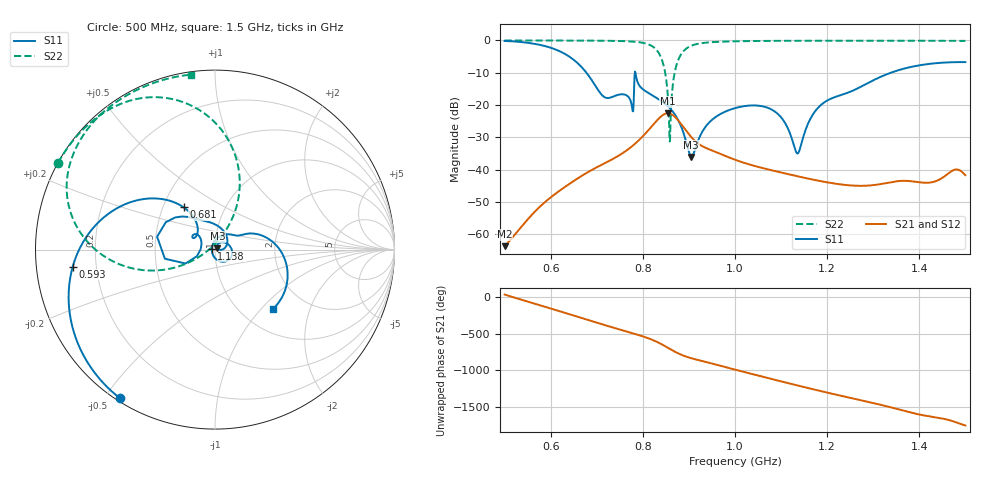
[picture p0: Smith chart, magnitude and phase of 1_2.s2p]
! TOUCHSTONE file generated by CST MICROWAVE STUDIO
! Date and time: Fri Oct  2 16:33:18 2020
! Project name: Scenario_1_Free_Space_out_of_line.cst
! Parameters = {Lambda=346.42; Step_1=17.321; dy1=346; dx1=346; L_HA=400; MT=2.54; Rad_Dielectric=30; Rad_Lower=7.3; Rad_Upper=30; a_HA=580; a_WG=246; b_HA=500; b_WG=121; c_HA=0; c_WG=187; d_feed=85; h_feed=15; h_lower=18; h_upper=40}
! Header version: 2018
! Port assignment regex: !\s*Touchstone port\s*([0-9]+)\s*=\s*(CST MWS port|CST DS port)\s*([0-9]+|Zmin|Zmax)\s*\(\"(.*)\"\)(\s*mode\s*([0-9]+))?.*
! Touchstone port assignment:
! Touchstone port 1 = CST MWS port 1 ("")
! Touchstone port 2 = CST MWS port 2 ("")
# GHz S DB R 50
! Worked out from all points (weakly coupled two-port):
!   1003 points, 500 MHz to 1.5 GHz, reference 50 ohm
!   highest |S21| = -22.55 dB at 854 MHz (marker M1); lowest = -63.7 dB at 500 MHz (marker M2)
!   lowest |S11| = -36.1 dB at 905 MHz (marker M3), VSWR 1.03, Z = 51.4 + j0.777 ohm
!   |S11| at or under -10 dB: 677.6 MHz to 782.7 MHz (105.1 MHz wide, 14.4 % of centre); 783.9 MHz to 1.338 GHz (554.3 MHz wide, 52.2 % of centre)
!   |S22| runs from -31.3 to 0.0 dB; largest |S21 - S12| = 1.5e-05
!   S11 on the Smith chart (normalised r, x): 500 MHz: 0.01, -0.55; 593 MHz: 0.11, -0.06; 681 MHz: 0.64, +0.33; 1.138 GHz: 0.97, +0.01; 1.5 GHz: 1.38, -1.16
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0.5  -0.15 -122.6  -63.69 29.8  -63.69 29.8  -0.01 151.1
0.593  -1.96 -173.2  -49.39 -145.8  -49.39 -145.8  -0.02 144.6
0.667  -8.23 134.4  -41.95 71.1  -41.95 71.1  -0.04 138.3
0.681  -10.64 126.6  -40.76 43.9  -40.76 43.9  -0.05 136.9
0.719  -17.71 140.2  -37.89 -28.0  -37.89 -28.0  -0.10 132.3
0.775  -19.48 141.2  -32.94 -128.6  -32.94 -128.6  -0.33 121.7
0.78  -19.37 -159.8  -32.35 -137.8  -32.35 -137.8  -0.38 120.2
0.787  -12.19 131.8  -31.47 -151.2  -31.47 -151.2  -0.47 117.9
0.834  -18.18 74.5  -24.27 97.6  -24.27 97.6  -3.76 85.5
0.847  -19.50 57.0  -22.80 54.4  -22.80 54.4  -8.96 67.5
0.854  -20.35 46.7  -22.55 29.1  -22.55 29.1  -16.73 60.3
0.861  -21.36 36.0  -22.78 3.8  -22.78 3.8  -21.60 -156.9
0.867  -22.41 26.6  -23.34 -17.1  -23.34 -17.1  -11.67 -156.5
0.872  -23.47 18.8  -24.00 -33.5  -24.00 -33.5  -8.14 -162.7
0.905  -36.07 28.7  -29.89 -113.7  -29.89 -113.7  -1.65 166.0
0.943  -25.55 49.8  -33.65 -174.1  -33.65 -174.1  -0.60 150.7
1  -20.95 6.4  -36.92 91.3  -36.92 91.3  -0.27 140.2
1.085  -21.87 -57.2  -40.38 -44.0  -40.38 -44.0  -0.13 131.0
1.138  -34.67 162.1  -42.12 -126.8  -42.12 -126.8  -0.10 126.4
1.167  -23.39 77.0  -43.02 -171.0  -43.02 -171.0  -0.09 124.1
1.334  -10.22 10.6  -44.00 -53.2  -44.00 -53.2  -0.09 111.4
1.5  -6.71 -46.0  -41.71 54.5  -41.70 54.5  -0.14 97.8
